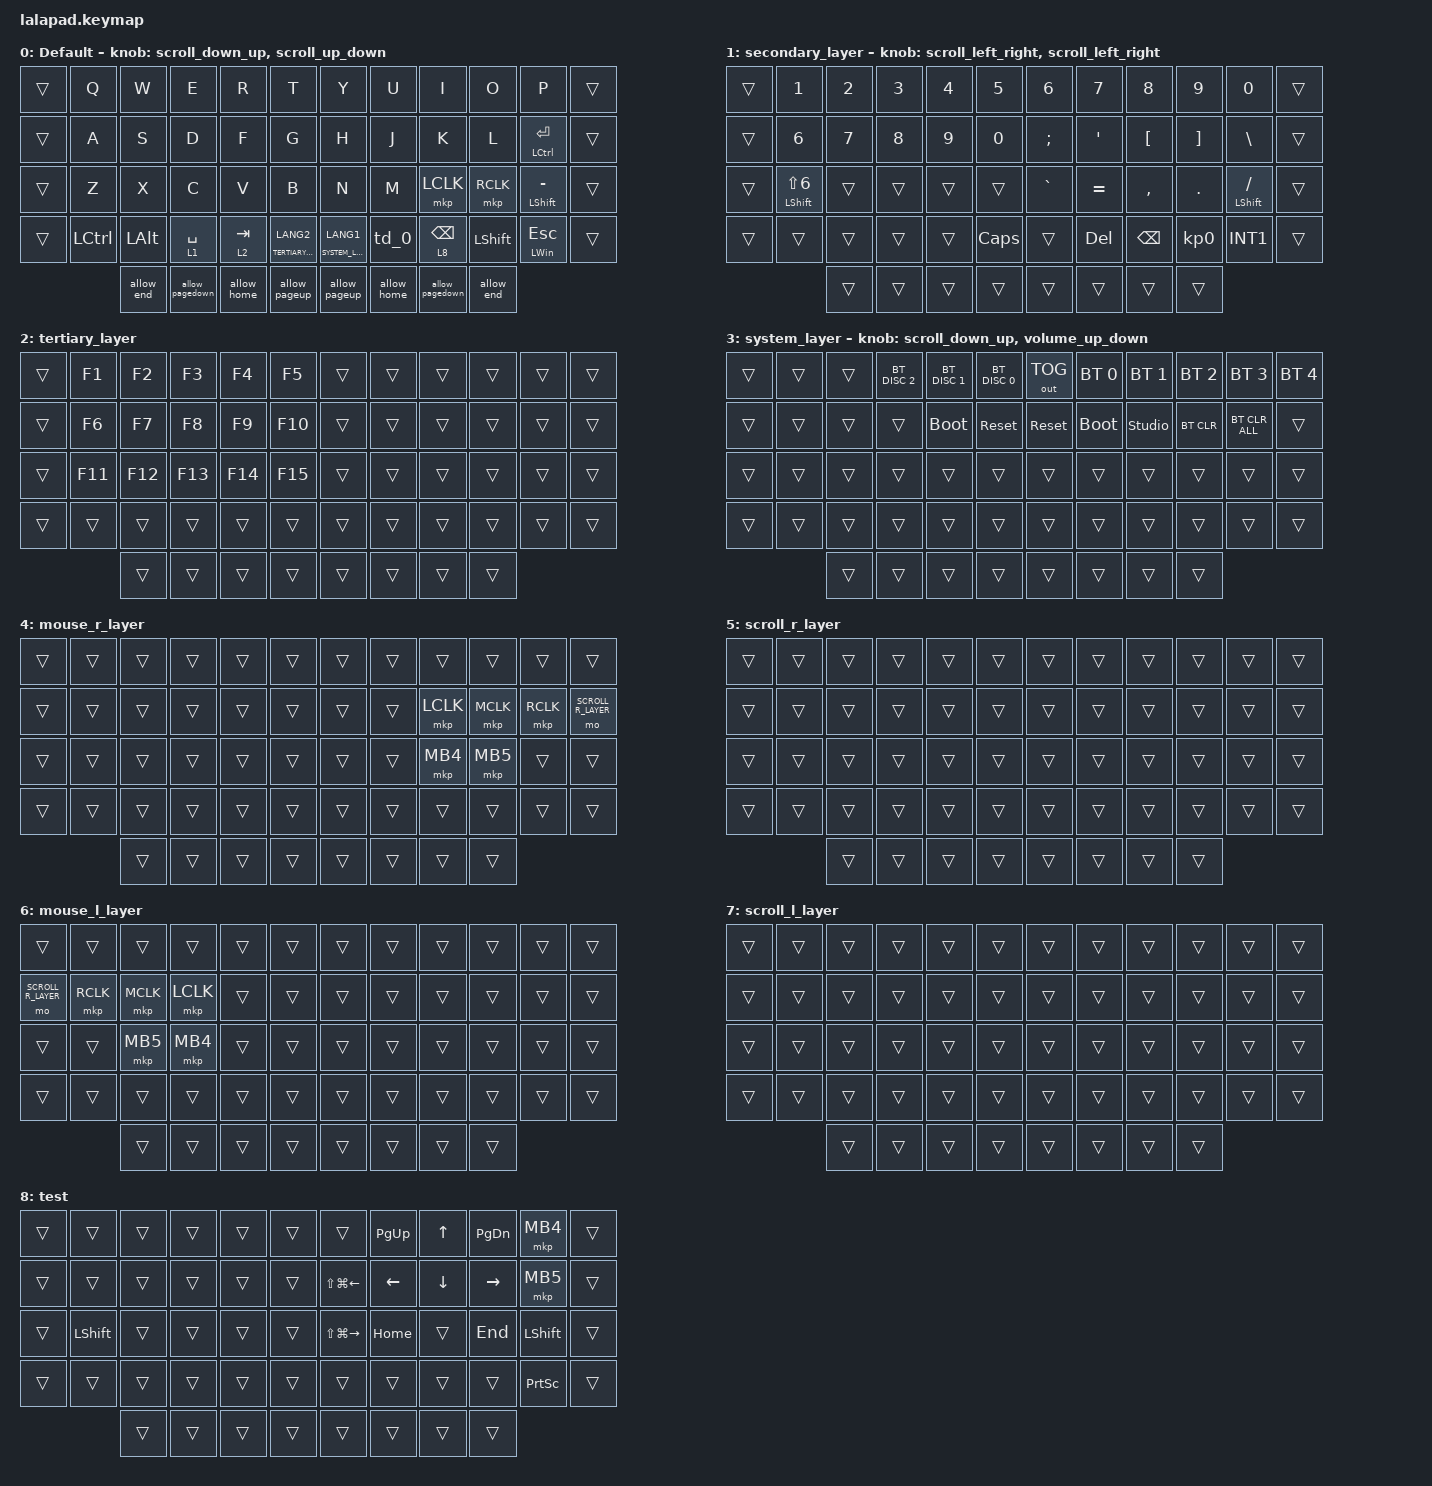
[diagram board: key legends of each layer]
#include <input/processors.dtsi>
#include <behaviors.dtsi>
#include <dt-bindings/zmk/bt.h>
#include <dt-bindings/zmk/keys.h>
#include <dt-bindings/zmk/outputs.h>
#include <dt-bindings/zmk/pointing.h>

#define DEFAULT_LAYER   0
#define SECONDARY_LAYER 1
#define TERTIARY_LAYER  2
#define SYSTEM_LAYER    3
#define MOUSE_R_LAYER   4
#define SCROLL_R_LAYER  5
#define MOUSE_L_LAYER   6
#define SCROLL_L_LAYER  7

// Mouse Scroll Value

#define ZMK_POINTING_DEFAULT_SCRL_VAL 100

// cirque trackpad input&layer control

&glidepoint_listener_R {
    input-processors =
        <&zip_xy_transform (INPUT_TRANSFORM_XY_SWAP | INPUT_TRANSFORM_X_INVERT | INPUT_TRANSFORM_Y_INVERT)>,
        <&zip_xy_scaler 2 1>,
        <&zip_temp_layer DEFAULT_LAYER 500>;

    lowspeedmode {
        layers = <SECONDARY_LAYER>;
        input-processors =
            <&zip_xy_transform (INPUT_TRANSFORM_XY_SWAP | INPUT_TRANSFORM_X_INVERT | INPUT_TRANSFORM_Y_INVERT)>,
            <&zip_xy_scaler 3 2>,
            <&zip_temp_layer DEFAULT_LAYER 500>;
    };

    scroller {
        layers = <SCROLL_R_LAYER>;
        input-processors =
            <&zip_xy_to_scroll_mapper>,
            <&zip_scroll_transform (INPUT_TRANSFORM_XY_SWAP | INPUT_TRANSFORM_Y_INVERT)>,
            <&zip_scroll_scaler 1 8>;
    };
};

&glidepoint_listener_L {
    input-processors =
        <&zip_xy_transform (INPUT_TRANSFORM_XY_SWAP | INPUT_TRANSFORM_X_INVERT | INPUT_TRANSFORM_Y_INVERT)>,
        <&zip_xy_scaler 3 2>,
        <&zip_temp_layer MOUSE_L_LAYER 500>;

    lowspeedmode {
        layers = <SECONDARY_LAYER>;
        input-processors =
            <&zip_xy_transform (INPUT_TRANSFORM_XY_SWAP | INPUT_TRANSFORM_X_INVERT | INPUT_TRANSFORM_Y_INVERT)>,
            <&zip_xy_scaler 3 4>,
            <&zip_temp_layer MOUSE_L_LAYER 500>;
    };

    scroller {
        layers = <SCROLL_L_LAYER>;
        input-processors =
            <&zip_xy_to_scroll_mapper>,
            <&zip_scroll_transform (INPUT_TRANSFORM_XY_SWAP | INPUT_TRANSFORM_Y_INVERT)>,
            <&zip_scroll_scaler 1 6>;
    };
};

/ {
    behaviors {
        // Encoder to Mouse Scroll

        scroll_up_down: sensor_scroll_up_down {
            compatible = "zmk,behavior-sensor-rotate";
            #sensor-binding-cells = <0>;
            bindings = <&msc SCRL_UP>, <&msc SCRL_DOWN>;

            tap-ms = <20>;
            label = "SCROLL_UP_DOWN";
        };

        scroll_down_up: sensor_scroll_down_up {
            compatible = "zmk,behavior-sensor-rotate";
            #sensor-binding-cells = <0>;
            bindings = <&msc SCRL_DOWN>, <&msc SCRL_UP>;

            tap-ms = <20>;
            label = "SCROLL_DOWN_UP";
        };

        scroll_left_right: sensor_scroll_left_right {
            compatible = "zmk,behavior-sensor-rotate";
            #sensor-binding-cells = <0>;
            bindings = <&msc SCRL_LEFT>, <&msc SCRL_RIGHT>;

            tap-ms = <20>;
            label = "SCROLL_LEFT_RIGHT";
        };

        scroll_right_left: sensor_scroll_right_left {
            compatible = "zmk,behavior-sensor-rotate";
            #sensor-binding-cells = <0>;
            bindings = <&msc SCRL_RIGHT>, <&msc SCRL_LEFT>;

            tap-ms = <20>;
            label = "SCROLL_RIGHT_LEFT";
        };

        volume_up_down: sensor_volume_up_down {
            compatible = "zmk,behavior-sensor-rotate";
            #sensor-binding-cells = <0>;
            bindings = <&kp C_VOLUME_UP>, <&kp C_VOLUME_DOWN>;

            tap-ms = <20>;
            label = "VOLUME_UP_DOWN";
        };

        dot_comma: dot_comma {
            compatible = "zmk,behavior-mod-morph";
            #binding-cells = <0>;
            bindings = <&kp KP_DOT>, <&kp COMMA>;

            mods = <(MOD_LSFT|MOD_RSFT)>;
            label = "DOT_COMMA";
        };

        pls_minus: pls_minus {
            compatible = "zmk,behavior-mod-morph";
            #binding-cells = <0>;
            bindings = <&kp PLUS>, <&kp MINUS>;

            mods = <(MOD_LSFT|MOD_RSFT)>;
            label = "PLS_MINUS";
        };

        allow_pageup: allow_pageup {
            compatible = "zmk,behavior-mod-morph";
            #binding-cells = <0>;
            bindings = <&kp UP>, <&kp PAGE_UP>;

            mods = <(MOD_LCTL|MOD_RCTL)>;
            label = "ALLOW_PAGEUP";
        };

        allow_pagedown: allow_pagedown {
            compatible = "zmk,behavior-mod-morph";
            #binding-cells = <0>;
            bindings = <&kp DOWN>, <&kp PAGE_DOWN>;

            mods = <(MOD_LCTL|MOD_RCTL)>;
            label = "ALLOW_PAGEDOWN";
        };

        allow_home: allow_home {
            compatible = "zmk,behavior-mod-morph";
            #binding-cells = <0>;
            bindings = <&kp LEFT>, <&kp HOME>;

            mods = <(MOD_LCTL|MOD_RCTL)>;
            label = "ALLOW_HOME";
        };

        allow_end: allow_end {
            compatible = "zmk,behavior-mod-morph";
            #binding-cells = <0>;
            bindings = <&kp RIGHT>, <&kp END>;

            mods = <(MOD_LCTL|MOD_RCTL)>;
            label = "ALLOW_END";
        };

        mt2: mod_tap2 {
            compatible = "zmk,behavior-hold-tap";
            #binding-cells = <2>;
            flavor = "tap-preferred";
            tapping-term-ms = <200>;
            quick-tap-ms = <200>;
            require-prior-idle-ms = <125>;
            bindings = <&kp>, <&kp>;
        };

        td_0: td_0 {
            compatible = "zmk,behavior-tap-dance";
            label = "TD_0";
            #binding-cells = <0>;
            bindings = <&kp LANGUAGE_1>, <&kp LANGUAGE_2>;
        };
    };

    combos {
        compatible = "zmk,combos";

        combo_0 {
            bindings = <&kp LEFT_SHIFT>;
            key-positions = <25 14>;
        };

        combo_1 {
            bindings = <&mo 5>;
            key-positions = <32 33>;
        };
    };

    keymap {
        compatible = "zmk,keymap";

        DEFAULT_LAYER {
            display-name = "Default";
            sensor-bindings = <&scroll_down_up>, <&scroll_up_down>;

            bindings = <
&trans  &kp Q             &kp W         &kp E            &kp R        &kp T                     &kp Y                   &kp U        &kp I            &kp O           &kp P                    &trans
&trans  &kp A             &kp S         &kp D            &kp F        &kp G                     &kp H                   &kp J        &kp K            &kp L           &mt2 LEFT_CONTROL ENTER  &trans
&trans  &kp Z             &kp X         &kp C            &kp V        &kp B                     &kp N                   &kp M        &mkp LCLK        &mkp RCLK       &mt LEFT_SHIFT MINUS     &trans
&trans  &kp LEFT_CONTROL  &kp LEFT_ALT  &lt 1 SPACE      &lt 2 TAB    &lt TERTIARY_LAYER LANG2  &lt SYSTEM_LAYER LANG1  &td_0        &lt 8 BACKSPACE  &kp LEFT_SHIFT  &mt LEFT_WIN ESC         &trans
                          &allow_end    &allow_pagedown  &allow_home  &allow_pageup             &allow_pageup           &allow_home  &allow_pagedown  &allow_end
            >;
        };

        SECONDARY_LAYER {
            display-name = "secondary_layer";
            sensor-bindings = <&scroll_left_right>, <&scroll_left_right>;

            bindings = <
&trans  &kp NUMBER_1                 &kp NUMBER_2  &kp NUMBER_3  &kp NUMBER_4  &kp NUMBER_5  &kp NUMBER_6   &kp NUMBER_7      &kp NUMBER_8      &kp NUMBER_9       &kp NUMBER_0          &trans
&trans  &kp NUMBER_6                 &kp NUMBER_7  &kp NUMBER_8  &kp NUMBER_9  &kp NUMBER_0  &kp SEMICOLON  &kp SINGLE_QUOTE  &kp LEFT_BRACKET  &kp RIGHT_BRACKET  &kp BACKSLASH         &trans
&trans  &mt LEFT_SHIFT LS(NUMBER_6)  &trans        &trans        &trans        &trans        &kp GRAVE      &kp EQUAL         &kp COMMA         &kp PERIOD         &mt LEFT_SHIFT SLASH  &trans
&trans  &trans                       &trans        &trans        &trans        &kp CAPS      &trans         &kp DELETE        &kp BACKSPACE     &kp KP_NUMBER_0    &kp INT1              &trans
                                     &trans        &trans        &trans        &trans        &trans         &trans            &trans            &trans
            >;
        };

        TERTIARY_LAYER {
            display-name = "tertiary_layer";
            bindings = <
&trans  &kp F1   &kp F2   &kp F3   &kp F4   &kp F5   &trans  &trans  &trans  &trans  &trans  &trans
&trans  &kp F6   &kp F7   &kp F8   &kp F9   &kp F10  &trans  &trans  &trans  &trans  &trans  &trans
&trans  &kp F11  &kp F12  &kp F13  &kp F14  &kp F15  &trans  &trans  &trans  &trans  &trans  &trans
&trans  &trans   &trans   &trans   &trans   &trans   &trans  &trans  &trans  &trans  &trans  &trans
                 &trans   &trans   &trans   &trans   &trans  &trans  &trans  &trans
            >;
        };

        SYSTEM_LAYER {
            display-name = "system_layer";
            sensor-bindings = <&scroll_down_up>, <&volume_up_down>;

            bindings = <
&trans  &trans  &trans  &bt BT_DISC 2  &bt BT_DISC 1  &bt BT_DISC 0  &out OUT_TOG  &bt BT_SEL 0  &bt BT_SEL 1    &bt BT_SEL 2  &bt BT_SEL 3    &bt BT_SEL 4
&trans  &trans  &trans  &trans         &bootloader    &sys_reset     &sys_reset    &bootloader   &studio_unlock  &bt BT_CLR    &bt BT_CLR_ALL  &trans
&trans  &trans  &trans  &trans         &trans         &trans         &trans        &trans        &trans          &trans        &trans          &trans
&trans  &trans  &trans  &trans         &trans         &trans         &trans        &trans        &trans          &trans        &trans          &trans
                &trans  &trans         &trans         &trans         &trans        &trans        &trans          &trans
            >;
        };

        MOUSE_R_LAYER {
            display-name = "mouse_r_layer";
            bindings = <
&trans  &trans  &trans  &trans  &trans  &trans  &trans  &trans  &trans     &trans     &trans     &trans
&trans  &trans  &trans  &trans  &trans  &trans  &trans  &trans  &mkp LCLK  &mkp MCLK  &mkp RCLK  &mo SCROLL_R_LAYER
&trans  &trans  &trans  &trans  &trans  &trans  &trans  &trans  &mkp MB4   &mkp MB5   &trans     &trans
&trans  &trans  &trans  &trans  &trans  &trans  &trans  &trans  &trans     &trans     &trans     &trans
                &trans  &trans  &trans  &trans  &trans  &trans  &trans     &trans
            >;
        };

        SCROLL_R_LAYER {
            display-name = "scroll_r_layer";
            bindings = <
&trans  &trans  &trans  &trans  &trans  &trans  &trans  &trans  &trans  &trans  &trans  &trans
&trans  &trans  &trans  &trans  &trans  &trans  &trans  &trans  &trans  &trans  &trans  &trans
&trans  &trans  &trans  &trans  &trans  &trans  &trans  &trans  &trans  &trans  &trans  &trans
&trans  &trans  &trans  &trans  &trans  &trans  &trans  &trans  &trans  &trans  &trans  &trans
                &trans  &trans  &trans  &trans  &trans  &trans  &trans  &trans
            >;
        };

        MOUSE_L_LAYER {
            display-name = "mouse_l_layer";
            bindings = <
&trans              &trans     &trans     &trans     &trans  &trans  &trans  &trans  &trans  &trans  &trans  &trans
&mo SCROLL_R_LAYER  &mkp RCLK  &mkp MCLK  &mkp LCLK  &trans  &trans  &trans  &trans  &trans  &trans  &trans  &trans
&trans              &trans     &mkp MB5   &mkp MB4   &trans  &trans  &trans  &trans  &trans  &trans  &trans  &trans
&trans              &trans     &trans     &trans     &trans  &trans  &trans  &trans  &trans  &trans  &trans  &trans
                               &trans     &trans     &trans  &trans  &trans  &trans  &trans  &trans
            >;
        };

        SCROLL_L_LAYER {
            display-name = "scroll_l_layer";
            bindings = <
&trans  &trans  &trans  &trans  &trans  &trans  &trans  &trans  &trans  &trans  &trans  &trans
&trans  &trans  &trans  &trans  &trans  &trans  &trans  &trans  &trans  &trans  &trans  &trans
&trans  &trans  &trans  &trans  &trans  &trans  &trans  &trans  &trans  &trans  &trans  &trans
&trans  &trans  &trans  &trans  &trans  &trans  &trans  &trans  &trans  &trans  &trans  &trans
                &trans  &trans  &trans  &trans  &trans  &trans  &trans  &trans
            >;
        };

        layer_8 {
            bindings = <
&trans  &trans          &trans  &trans  &trans  &trans  &trans                   &kp PAGE_UP     &kp UP_ARROW    &kp PAGE_DOWN    &mkp MB4         &trans
&trans  &trans          &trans  &trans  &trans  &trans  &kp LS(LG(LEFT_ARROW))   &kp LEFT_ARROW  &kp DOWN_ARROW  &kp RIGHT_ARROW  &mkp MB5         &trans
&trans  &kp LEFT_SHIFT  &trans  &trans  &trans  &trans  &kp LS(LG(RIGHT_ARROW))  &kp HOME        &trans          &kp END          &kp LEFT_SHIFT   &trans
&trans  &trans          &trans  &trans  &trans  &trans  &trans                   &trans          &trans          &trans           &kp PRINTSCREEN  &trans
                        &trans  &trans  &trans  &trans  &trans                   &trans          &trans          &trans
            >;

            label = "test";
        };
    };
};
